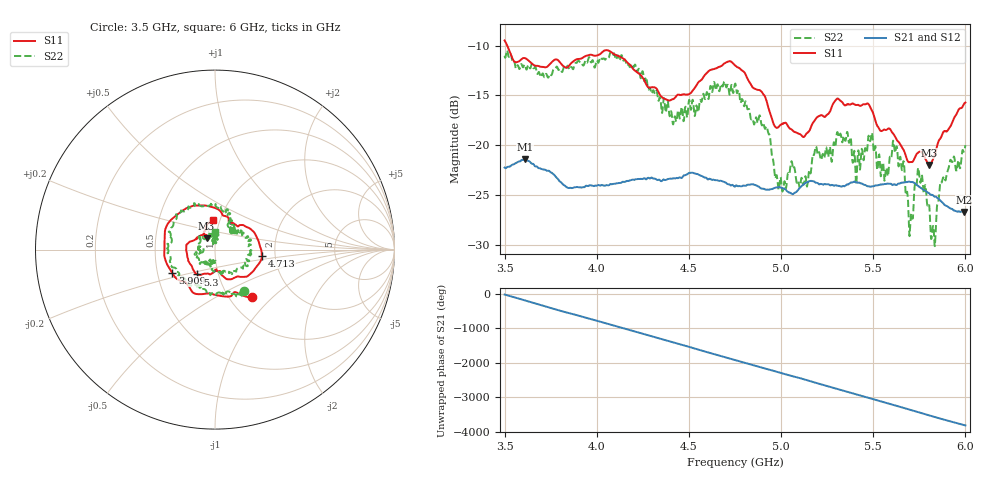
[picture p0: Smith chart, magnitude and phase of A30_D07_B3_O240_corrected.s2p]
! Created with skrf 1.9.0 (http://scikit-rf.org).
# Hz S RI R 50.0
!freq ReS11 ImS11 ReS21 ImS21 ReS12 ImS12 ReS22 ImS22
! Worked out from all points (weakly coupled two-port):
!   1601 points, 3.5 GHz to 6 GHz, reference 50 ohm
!   highest |S21| = -21.42 dB at 3.611 GHz (marker M1); lowest = -26.7 dB at 5.994 GHz (marker M2)
!   lowest |S11| = -22.0 dB at 5.805 GHz (marker M3), VSWR 1.17, Z = 45.1 + j5.81 ohm
!   |S11| at or under -10 dB: 3.514 GHz to end of sweep
!   |S22| runs from -30.1 to -10.5 dB; largest |S21 - S12| = 0.001
!   S11 on the Smith chart (normalised r, x): 3.5 GHz: 1.26, -0.76; 3.909 GHz: 0.60, -0.17; 4.713 GHz: 1.70, -0.12; 5.3 GHz: 0.79, -0.23; 6 GHz: 0.93, +0.31
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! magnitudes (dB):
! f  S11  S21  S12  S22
! 3.5 GHz  -9.5  -22.2  -22.2  -11.0
! 3.611 GHz  -11.3  -21.4  -21.4  -11.9
! 3.909 GHz  -11.3  -24.2  -24.2  -11.7
! 3.917 GHz  -11.3  -24.2  -24.2  -11.7
! 4.142 GHz  -11.3  -23.7  -23.7  -11.4
! 4.334 GHz  -14.6  -23.5  -23.4  -15.5
! 4.422 GHz  -15.3  -23.3  -23.3  -17.2
! 4.713 GHz  -11.6  -23.9  -23.9  -14.0
! 4.75 GHz  -12.0  -24.2  -24.1  -13.9
! 4.928 GHz  -16.0  -24.5  -24.4  -18.6
! 4.997 GHz  -18.0  -24.2  -24.2  -23.2
! 5.167 GHz  -17.9  -23.6  -23.6  -21.7
! 5.3 GHz  -15.4  -24.0  -24.0  -19.2
! 5.584 GHz  -18.3  -23.9  -23.8  -22.2
! 5.656 GHz  -20.2  -23.7  -23.7  -22.5
! 5.705 GHz  -21.7  -23.7  -23.7  -27.0
! 5.753 GHz  -20.6  -24.2  -24.2  -23.5
! 5.805 GHz  -22.0  -24.8  -24.8  -26.2
! 5.827 GHz  -21.3  -25.1  -25.0  -28.2
! 5.872 GHz  -19.0  -25.7  -25.7  -23.7
! 5.994 GHz  -15.8  -26.7  -26.6  -20.6
! 6 GHz  -15.7  -26.7  -26.7  -20.0
